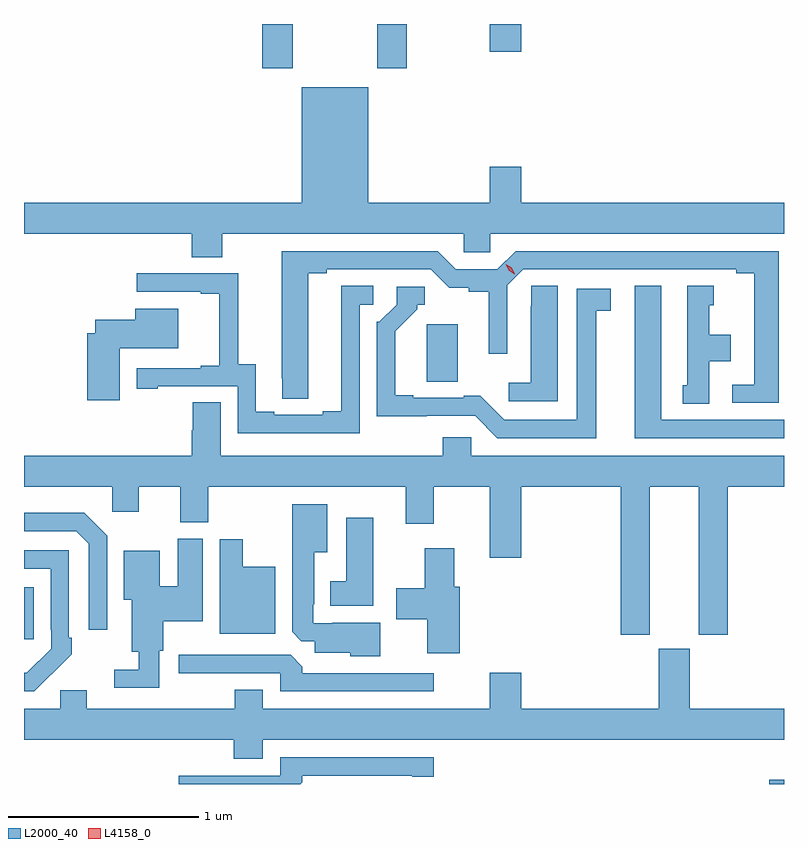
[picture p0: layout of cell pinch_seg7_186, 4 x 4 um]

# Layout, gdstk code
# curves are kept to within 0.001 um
import gdstk
lib = gdstk.Library(unit=1e-6, precision=1e-09)
def R(c, l, rs):  # rectangles x0, y0, x1, y1
    for r in rs: c.add(gdstk.rectangle(r[:2], r[2:], *l))
def P(c, l, *ps):  # polygons
    for p in ps: c.add(gdstk.Polygon(p, *l))
L2000_40 = (2000, 40)
L4158_0 = (4158, 0)

pinch_seg7_186 = lib.new_cell('pinch_seg7_186')
R(pinch_seg7_186, L2000_40, [(1089.555,1035.016,1089.632,1035.039), (1085.632,1035.777,1085.683,1036.051), (1086.887,1038.783,1087.047,1039.016), (1087.492,1038.783,1087.647,1039.016), (1088.084,1038.87,1088.248,1039.016)])
P(pinch_seg7_186, L2000_40, [(1086.675,1037.912),(1087.947,1037.912),(1087.947,1037.814),(1088.085,1037.814),(1088.085,1037.912),(1089.632,1037.912),(1089.632,1038.076),(1088.248,1038.076),(1088.248,1038.265),(1088.084,1038.265),(1088.084,1038.076),(1087.444,1038.076),(1087.444,1038.682),(1087.094,1038.682),(1087.094,1038.076),(1085.632,1038.076),(1085.632,1037.912),(1086.515,1037.912),(1086.515,1037.788),(1086.675,1037.788)],
  [(1089.604,1037.82),(1088.219,1037.82),(1088.123,1037.724),(1087.905,1037.724),(1087.809,1037.82),(1086.989,1037.82),(1086.99,1037.044),(1087.129,1037.044),(1087.129,1037.704),(1087.225,1037.704),(1087.225,1037.724),(1087.773,1037.724),(1087.871,1037.627),(1087.974,1037.627),(1087.974,1037.608),(1088.078,1037.608),(1088.078,1037.28),(1088.175,1037.28),(1088.175,1037.64),(1088.259,1037.724),(1089.38,1037.724),(1089.38,1037.704),(1089.476,1037.704),(1089.476,1037.118),(1089.36,1037.118),(1089.36,1037.022),(1089.604,1037.022)],
  [(1087.398,1037.538),(1087.471,1037.538),(1087.471,1037.639),(1087.301,1037.639),(1087.301,1036.979),(1087.205,1036.979),(1087.205,1036.959),(1086.949,1036.959),(1086.949,1036.974),(1086.853,1036.974),(1086.853,1037.225),(1086.759,1037.225),(1086.759,1037.703),(1086.225,1037.703),(1086.225,1037.607),(1086.563,1037.607),(1086.563,1037.595),(1086.659,1037.595),(1086.659,1037.218),(1086.563,1037.218),(1086.563,1037.205),(1086.225,1037.205),(1086.225,1037.097),(1086.337,1037.097),(1086.337,1037.109),(1086.756,1037.109),(1086.756,1036.863),(1087.398,1036.863)],
  [(1088.44,1037.639),(1088.301,1037.639),(1088.301,1037.531),(1088.3,1037.531),(1088.3,1037.128),(1088.184,1037.128),(1088.184,1037.031),(1088.44,1037.031)],
  [(1089.238,1037.24),(1089.352,1037.24),(1089.352,1037.38),(1089.238,1037.38),(1089.238,1037.535),(1089.262,1037.535),(1089.262,1037.638),(1089.122,1037.638),(1089.122,1037.115),(1089.098,1037.115),(1089.098,1037.017),(1089.238,1037.017)],
  [(1089.632,1036.932),(1088.986,1036.932),(1088.986,1037.638),(1088.846,1037.638),(1088.846,1036.836),(1089.632,1036.836)],
  [(1088.644,1037.506),(1088.719,1037.506),(1088.719,1037.622),(1088.54,1037.622),(1088.54,1036.932),(1088.16,1036.932),(1088.032,1037.06),(1087.946,1037.06),(1087.946,1037.049),(1087.681,1037.049),(1087.681,1037.062),(1087.585,1037.062),(1087.585,1037.398),(1087.702,1037.515),(1087.702,1037.538),(1087.741,1037.538),(1087.741,1037.634),(1087.593,1037.634),(1087.593,1037.538),(1087.503,1037.448),(1087.488,1037.448),(1087.488,1036.952),(1088.007,1036.953),(1088.124,1036.836),(1088.644,1036.836)],
  [(1086.136,1037.309),(1086.445,1037.309),(1086.445,1037.518),(1086.218,1037.518),(1086.218,1037.46),(1086.008,1037.46),(1086.008,1037.389),(1085.966,1037.389),(1085.966,1037.037),(1086.136,1037.037)],
  [(1087.914,1037.292),(1087.915,1037.292),(1087.915,1037.437),(1087.751,1037.437),(1087.751,1037.134),(1087.914,1037.134)],
  [(1088.926,1036.58),(1089.182,1036.58),(1089.182,1035.801),(1089.335,1035.801),(1089.335,1036.58),(1089.632,1036.58),(1089.632,1036.744),(1087.986,1036.744),(1087.986,1036.842),(1087.835,1036.842),(1087.835,1036.744),(1086.667,1036.744),(1086.667,1037.024),(1086.52,1037.024),(1086.52,1036.878),(1086.515,1036.878),(1086.515,1036.744),(1085.632,1036.744),(1085.632,1036.58),(1086.096,1036.58),(1086.096,1036.449),(1086.235,1036.449),(1086.235,1036.58),(1086.455,1036.58),(1086.455,1036.393),(1086.603,1036.393),(1086.603,1036.58),(1087.64,1036.58),(1087.64,1036.386),(1087.788,1036.386),(1087.788,1036.58),(1088.084,1036.58),(1088.084,1036.206),(1088.248,1036.206),(1088.248,1036.58),(1088.774,1036.58),(1088.774,1035.801),(1088.926,1035.801)],
  [(1087.507,1035.865),(1087.255,1035.865),(1087.255,1035.861),(1087.155,1035.861),(1087.155,1035.961),(1087.159,1035.961),(1087.159,1036.235),(1087.228,1036.235),(1087.228,1036.489),(1087.043,1036.489),(1087.043,1035.817),(1087.092,1035.768),(1087.163,1035.768),(1087.163,1035.707),(1087.35,1035.707),(1087.35,1035.689),(1087.507,1035.689)],
  [(1086.069,1036.323),(1085.948,1036.444),(1085.632,1036.444),(1085.632,1036.347),(1085.907,1036.347),(1085.973,1036.281),(1085.973,1035.828),(1086.069,1035.828)],
  [(1087.471,1036.417),(1087.328,1036.417),(1087.328,1036.084),(1087.244,1036.084),(1087.244,1035.953),(1087.471,1035.953)],
  [(1086.345,1035.717),(1086.366,1035.717),(1086.366,1035.872),(1086.574,1035.872),(1086.574,1036.308),(1086.44,1036.308),(1086.44,1036.057),(1086.346,1036.057),(1086.346,1036.243),(1086.158,1036.243),(1086.158,1035.986),(1086.2,1035.986),(1086.2,1035.713),(1086.237,1035.713),(1086.237,1035.618),(1086.108,1035.618),(1086.108,1035.522),(1086.345,1035.522)],
  [(1086.955,1036.159),(1086.784,1036.159),(1086.784,1036.305),(1086.662,1036.305),(1086.662,1035.806),(1086.955,1035.806)],
  [(1087.925,1036.053),(1087.897,1036.053),(1087.897,1036.257),(1087.742,1036.257),(1087.742,1036.047),(1087.59,1036.047),(1087.59,1035.884),(1087.754,1035.884),(1087.754,1035.705),(1087.925,1035.705)],
  [(1085.777,1035.595),(1085.778,1035.594),(1085.883,1035.699),(1085.883,1035.787),(1085.868,1035.787),(1085.868,1036.245),(1085.632,1036.245),(1085.632,1036.149),(1085.772,1036.149),(1085.772,1035.829),(1085.775,1035.829),(1085.775,1035.729),(1085.647,1035.601),(1085.632,1035.601),(1085.632,1035.504),(1085.686,1035.504)],
  [(1086.889,1035.248),(1089.632,1035.248),(1089.632,1035.412),(1089.136,1035.412),(1089.136,1035.729),(1088.972,1035.729),(1088.972,1035.412),(1088.248,1035.412),(1088.248,1035.601),(1088.084,1035.601),(1088.084,1035.412),(1086.889,1035.412),(1086.889,1035.511),(1086.742,1035.511),(1086.742,1035.412),(1085.962,1035.412),(1085.962,1035.51),(1085.823,1035.51),(1085.823,1035.412),(1085.632,1035.412),(1085.632,1035.248),(1086.737,1035.248),(1086.737,1035.149),(1086.889,1035.149)],
  [(1087.789,1035.6),(1087.097,1035.6),(1087.097,1035.634),(1087.035,1035.696),(1086.447,1035.696),(1086.447,1035.6),(1086.981,1035.6),(1086.981,1035.504),(1087.789,1035.504)],
  [(1087.097,1035.026),(1087.097,1035.06),(1087.676,1035.06),(1087.676,1035.055),(1087.789,1035.055),(1087.789,1035.156),(1086.981,1035.156),(1086.981,1035.06),(1086.447,1035.06),(1086.447,1035.016),(1087.087,1035.016)])
P(pinch_seg7_186, L4158_0, [(1088.216,1037.698),(1088.185,1037.718),(1088.168,1037.752),(1088.168,1037.752),(1088.168,1037.752),(1088.2,1037.732),(1088.216,1037.699),(1088.216,1037.698)])

lib.write_gds('pinch_seg7_186.gds')
